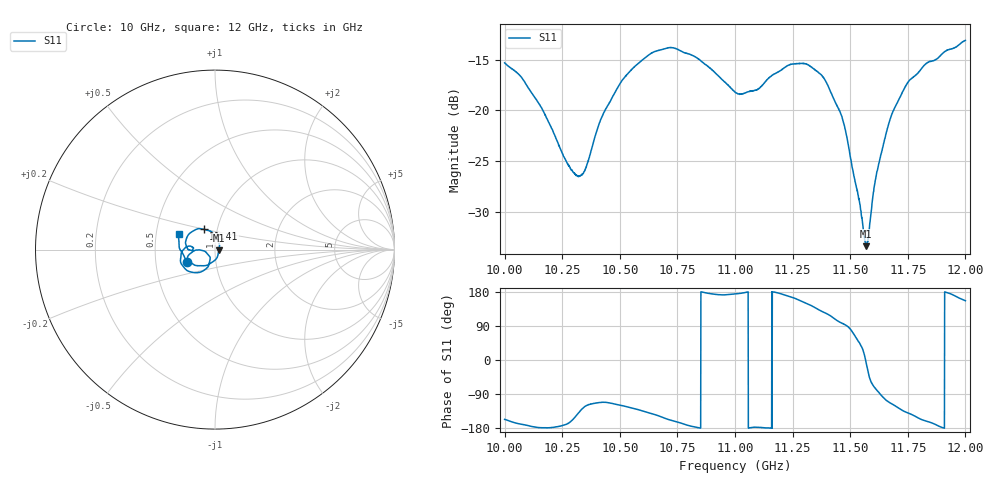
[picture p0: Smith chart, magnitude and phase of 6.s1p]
[Version] 2.0
! Rohde & Schwarz Vector Network Analyzer
! Rohde-Schwarz,ZNL20-2Port,1323001220200009,1.71.1.10-23.02.1.238
! Port Assignments:
! Nominal Port -> Actual Test Port
!  1 -> 1
! Created: GMT 2024-08-27 12:49:06
# Hz S DB R 50
[Number of Ports] 1
! freq[Hz]  S11[mag dB]  S11[ang]
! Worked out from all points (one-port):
!   2001 points, 10 GHz to 12 GHz, reference 50 ohm
!   lowest |S11| = -33.4 dB at 11.57 GHz (marker M1), VSWR 1.04, Z = 52.2 - j0.378 ohm
!   |S11| at or under -10 dB: start of sweep to end of sweep
!   S11 on the Smith chart (normalised r, x): 10 GHz: 0.72, -0.10; 11.41 GHz: 0.86, +0.20; 12 GHz: 0.65, +0.12
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[Number of Frequencies] 28
[Network Data]
1e10  -15.31 -156.8
1.0069e10  -16.63 -169.0
1.0145e10  -19.18 -178.1
1.025e10  -24.20 -173.1
1.0304e10  -26.18 -151.9
1.0338e10  -26.25 -128.1
1.0419e10  -20.80 -112.0
1.05e10  -17.38 -119.1
1.0637e10  -14.36 -141.4
1.075e10  -13.96 -163.8
1.0886e10  -15.72 175.8
1.1e10  -18.19 174.4
1.1097e10  -17.93 -177.4
1.125e10  -15.41 164.9
1.1324e10  -15.62 145.8
1.1407e10  -17.73 119.1
1.1465e10  -20.72 96.6
1.15e10  -24.52 81.9
1.1537e10  -28.72 47.8
1.1562e10  -32.51 12.7
1.157e10  -33.37 -9.7
1.1579e10  -32.40 -35.2
1.1613e10  -26.41 -77.6
1.1658e10  -22.06 -107.0
1.1687e10  -20.02 -117.9
1.175e10  -17.26 -139.5
1.1833e10  -15.32 -162.0
1.2e10  -13.10 156.4
[End]
